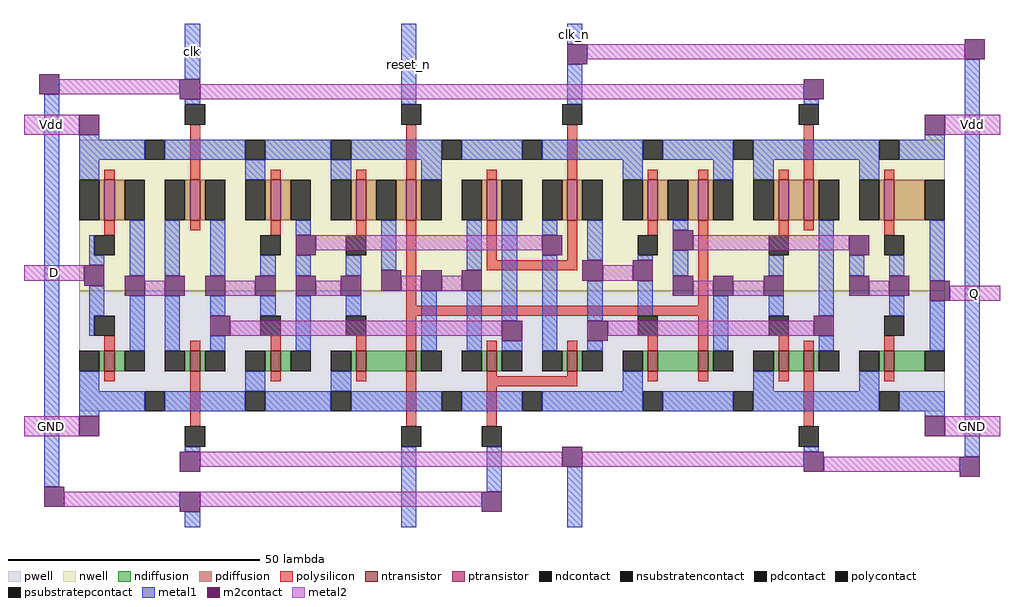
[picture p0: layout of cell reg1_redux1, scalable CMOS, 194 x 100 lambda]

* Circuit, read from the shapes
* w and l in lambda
.subckt reg1_redux1 D GND Q Vdd clk clk_n reset_n
M1 n1 D GND GND nfet w=4 l=2
M2 n2 clk_n n1 GND nfet w=4 l=2
M3 n3 n2 GND GND nfet w=4 l=2
M4 n4 n3 GND GND nfet w=4 l=2
M5 n5 reset_n n4 GND nfet w=4 l=2
M6 n2 clk n5 GND nfet w=4 l=2
M7 reset_n clk n3 GND nfet w=4 l=2
M8 n6 reset_n GND GND nfet w=4 l=2
M9 n7 reset_n n6 GND nfet w=4 l=2
M10 n8 n7 GND GND nfet w=4 l=2
M11 reset_n clk_n n8 GND nfet w=4 l=2
M12 Q n7 GND GND nfet w=4 l=2
M13 n1 D Vdd Vdd pfet w=8 l=2
M14 n2 clk n1 Vdd pfet w=8 l=2
M15 n3 n2 Vdd Vdd pfet w=8 l=2
M16 n5 n3 Vdd Vdd pfet w=8 l=2
M17 Vdd reset_n n5 Vdd pfet w=8 l=2
M18 n2 clk_n n5 Vdd pfet w=8 l=2
M19 reset_n clk_n n3 Vdd pfet w=8 l=2
M20 n7 reset_n Vdd Vdd pfet w=8 l=2 m=2
M21 n9 n7 Vdd Vdd pfet w=8 l=2
M22 reset_n clk n9 Vdd pfet w=8 l=2
M23 Q n7 Vdd Vdd pfet w=8 l=2
.ends

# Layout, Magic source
magic
tech scmos
<< pwell >>
rect -12 -69 160 -45
<< nwell >>
rect -12 -45 160 -15
<< polysilicon >>
rect -7 -23 -5 -21
rect 10 -23 12 -12
rect 26 -23 28 -21
rect 43 -23 45 -21
rect 53 -23 55 -12
rect 69 -23 71 -21
rect 85 -23 87 -12
rect 101 -23 103 -21
rect 111 -23 113 -21
rect 127 -23 129 -21
rect 132 -23 134 -12
rect 148 -23 150 -21
rect -7 -34 -5 -31
rect 10 -33 12 -31
rect 26 -34 28 -31
rect 43 -34 45 -31
rect 53 -48 55 -31
rect 69 -39 71 -31
rect 85 -39 87 -31
rect 101 -34 103 -31
rect 69 -41 87 -39
rect 111 -48 113 -31
rect 127 -34 129 -31
rect 132 -33 134 -31
rect 148 -34 150 -31
rect 53 -50 113 -48
rect -7 -57 -5 -54
rect 10 -57 12 -55
rect 26 -57 28 -54
rect 43 -57 45 -54
rect 53 -57 55 -50
rect 69 -57 71 -55
rect 85 -57 87 -55
rect 101 -57 103 -54
rect 111 -57 113 -50
rect 127 -57 129 -54
rect 132 -57 134 -55
rect 148 -57 150 -54
rect -7 -63 -5 -61
rect 10 -72 12 -61
rect 26 -63 28 -61
rect 43 -63 45 -61
rect 53 -72 55 -61
rect 69 -62 71 -61
rect 85 -62 87 -61
rect 69 -64 87 -62
rect 101 -63 103 -61
rect 111 -63 113 -61
rect 127 -63 129 -61
rect 69 -72 71 -64
rect 132 -72 134 -61
rect 148 -63 150 -61
<< ndiffusion >>
rect -8 -61 -7 -57
rect -5 -61 -3 -57
rect 9 -61 10 -57
rect 12 -61 13 -57
rect 25 -61 26 -57
rect 28 -61 30 -57
rect 42 -61 43 -57
rect 45 -61 53 -57
rect 55 -61 56 -57
rect 68 -61 69 -57
rect 71 -61 72 -57
rect 84 -61 85 -57
rect 87 -61 88 -57
rect 100 -61 101 -57
rect 103 -61 111 -57
rect 113 -61 114 -57
rect 126 -61 127 -57
rect 129 -61 132 -57
rect 134 -61 135 -57
rect 147 -61 148 -57
rect 150 -61 156 -57
<< pdiffusion >>
rect -8 -31 -7 -23
rect -5 -31 -3 -23
rect 9 -31 10 -23
rect 12 -31 13 -23
rect 25 -31 26 -23
rect 28 -31 30 -23
rect 42 -31 43 -23
rect 45 -31 47 -23
rect 51 -31 53 -23
rect 55 -31 56 -23
rect 68 -31 69 -23
rect 71 -31 72 -23
rect 84 -31 85 -23
rect 87 -31 88 -23
rect 100 -31 101 -23
rect 103 -31 105 -23
rect 109 -31 111 -23
rect 113 -31 114 -23
rect 126 -31 127 -23
rect 129 -31 132 -23
rect 134 -31 135 -23
rect 147 -31 148 -23
rect 150 -31 156 -23
<< metal1 >>
rect 9 -3 12 8
rect -19 -84 -16 -6
rect 9 -8 12 -7
rect 52 -8 55 8
rect 85 4 88 8
rect 85 -8 88 0
rect 132 -8 135 -7
rect -12 -15 -8 -14
rect 156 -15 160 -14
rect -12 -19 1 -15
rect 5 -19 21 -15
rect 25 -19 38 -15
rect 42 -19 60 -15
rect 64 -19 76 -15
rect 80 -19 100 -15
rect 104 -19 118 -15
rect 122 -19 147 -15
rect 151 -19 160 -15
rect -12 -23 -8 -19
rect 21 -23 25 -19
rect 38 -23 42 -19
rect 56 -23 60 -19
rect 96 -23 100 -19
rect 114 -23 118 -19
rect -10 -38 -9 -34
rect -10 -40 -7 -38
rect -2 -42 1 -31
rect -10 -50 -7 -44
rect -10 -54 -9 -50
rect -2 -57 1 -46
rect 5 -42 8 -31
rect 14 -42 17 -31
rect 31 -34 34 -31
rect 24 -42 27 -38
rect 5 -57 8 -46
rect 14 -50 17 -46
rect 24 -50 27 -46
rect 31 -42 34 -38
rect 41 -42 44 -38
rect 48 -41 51 -31
rect 65 -41 68 -31
rect 14 -57 17 -54
rect 31 -57 34 -46
rect 41 -50 44 -46
rect 56 -57 59 -45
rect 65 -57 68 -45
rect 122 -23 126 -19
rect 143 -23 147 -19
rect 72 -51 75 -31
rect 80 -34 83 -31
rect 72 -57 76 -55
rect 80 -57 83 -38
rect 89 -39 92 -31
rect 106 -33 109 -31
rect 99 -39 102 -38
rect 89 -51 92 -43
rect 99 -50 102 -43
rect 106 -42 109 -37
rect 125 -42 128 -38
rect 89 -57 92 -55
rect 114 -57 117 -46
rect 125 -50 128 -46
rect 135 -50 138 -31
rect 141 -42 144 -38
rect 149 -42 152 -38
rect 157 -43 160 -31
rect 149 -50 152 -46
rect 135 -57 138 -54
rect 157 -57 160 -47
rect -12 -65 -8 -61
rect 21 -65 25 -61
rect 38 -65 42 -61
rect 96 -65 100 -61
rect 122 -65 126 -61
rect 143 -65 147 -61
rect -12 -69 1 -65
rect 5 -69 21 -65
rect 25 -69 38 -65
rect 42 -69 60 -65
rect 64 -69 76 -65
rect 80 -69 100 -65
rect 104 -69 118 -65
rect 122 -69 147 -65
rect 151 -69 160 -65
rect -12 -70 -8 -69
rect 156 -70 160 -69
rect 9 -77 12 -76
rect 9 -92 12 -89
rect 52 -92 55 -76
rect 69 -85 72 -76
rect 85 -92 88 -80
rect 132 -77 135 -76
rect 164 -78 167 1
<< metal2 >>
rect 89 1 164 4
rect -16 -6 8 -3
rect 12 -7 132 -4
rect -23 -14 -12 -10
rect 160 -14 171 -10
rect 35 -37 80 -34
rect 110 -37 141 -34
rect -23 -43 -11 -40
rect 1 -46 5 -43
rect 17 -46 23 -43
rect 35 -46 40 -43
rect 52 -45 56 -42
rect 60 -45 64 -42
rect 92 -43 98 -40
rect 110 -46 114 -43
rect 118 -46 124 -43
rect 145 -46 149 -43
rect 161 -47 171 -44
rect 18 -54 72 -51
rect 93 -54 134 -51
rect -23 -74 -12 -70
rect 160 -74 171 -70
rect 12 -80 84 -77
rect 88 -80 132 -77
rect 136 -81 163 -78
rect -15 -88 8 -85
rect 12 -88 68 -85
<< ntransistor >>
rect -7 -61 -5 -57
rect 10 -61 12 -57
rect 26 -61 28 -57
rect 43 -61 45 -57
rect 53 -61 55 -57
rect 69 -61 71 -57
rect 85 -61 87 -57
rect 101 -61 103 -57
rect 111 -61 113 -57
rect 127 -61 129 -57
rect 132 -61 134 -57
rect 148 -61 150 -57
<< ptransistor >>
rect -7 -31 -5 -23
rect 10 -31 12 -23
rect 26 -31 28 -23
rect 43 -31 45 -23
rect 53 -31 55 -23
rect 69 -31 71 -23
rect 85 -31 87 -23
rect 101 -31 103 -23
rect 111 -31 113 -23
rect 127 -31 129 -23
rect 132 -31 134 -23
rect 148 -31 150 -23
<< polycontact >>
rect 9 -12 13 -8
rect 52 -12 56 -8
rect 84 -12 88 -8
rect 131 -12 135 -8
rect -9 -38 -5 -34
rect 24 -38 28 -34
rect 41 -38 45 -34
rect 99 -38 103 -34
rect 125 -38 129 -34
rect 148 -38 152 -34
rect -9 -54 -5 -50
rect 24 -54 28 -50
rect 41 -54 45 -50
rect 99 -54 103 -50
rect 125 -54 129 -50
rect 148 -54 152 -50
rect 9 -76 13 -72
rect 52 -76 56 -72
rect 68 -76 72 -72
rect 131 -76 135 -72
<< ndcontact >>
rect -12 -61 -8 -57
rect -3 -61 1 -57
rect 5 -61 9 -57
rect 13 -61 17 -57
rect 21 -61 25 -57
rect 30 -61 34 -57
rect 38 -61 42 -57
rect 56 -61 60 -57
rect 64 -61 68 -57
rect 72 -61 76 -57
rect 80 -61 84 -57
rect 88 -61 92 -57
rect 96 -61 100 -57
rect 114 -61 118 -57
rect 122 -61 126 -57
rect 135 -61 139 -57
rect 143 -61 147 -57
rect 156 -61 160 -57
<< pdcontact >>
rect -12 -31 -8 -23
rect -3 -31 1 -23
rect 5 -31 9 -23
rect 13 -31 17 -23
rect 21 -31 25 -23
rect 30 -31 34 -23
rect 38 -31 42 -23
rect 47 -31 51 -23
rect 56 -31 60 -23
rect 64 -31 68 -23
rect 72 -31 76 -23
rect 80 -31 84 -23
rect 88 -31 92 -23
rect 96 -31 100 -23
rect 105 -31 109 -23
rect 114 -31 118 -23
rect 122 -31 126 -23
rect 135 -31 139 -23
rect 143 -31 147 -23
rect 156 -31 160 -23
<< m2contact >>
rect -20 -6 -16 -2
rect 8 -7 12 -3
rect 85 0 89 4
rect 164 1 168 5
rect 132 -7 136 -3
rect -12 -14 -8 -10
rect 156 -14 160 -10
rect -11 -44 -7 -40
rect -3 -46 1 -42
rect 31 -38 35 -34
rect 5 -46 9 -42
rect 13 -46 17 -42
rect 23 -46 27 -42
rect 31 -46 35 -42
rect 40 -46 44 -42
rect 48 -45 52 -41
rect 56 -45 60 -41
rect 64 -45 68 -41
rect 14 -54 18 -50
rect 80 -38 84 -34
rect 72 -55 76 -51
rect 106 -37 110 -33
rect 88 -43 92 -39
rect 98 -43 102 -39
rect 106 -46 110 -42
rect 114 -46 118 -42
rect 124 -46 128 -42
rect 89 -55 93 -51
rect 141 -38 145 -34
rect 141 -46 145 -42
rect 149 -46 153 -42
rect 134 -54 138 -50
rect 157 -47 161 -43
rect -12 -74 -8 -70
rect 156 -74 160 -70
rect 8 -81 12 -77
rect -19 -88 -15 -84
rect 8 -89 12 -85
rect 84 -80 88 -76
rect 68 -89 72 -85
rect 132 -81 136 -77
rect 163 -82 167 -78
<< psubstratepcontact >>
rect 1 -69 5 -65
rect 21 -69 25 -65
rect 38 -69 42 -65
rect 60 -69 64 -65
rect 76 -69 80 -65
rect 100 -69 104 -65
rect 118 -69 122 -65
rect 147 -69 151 -65
<< nsubstratencontact >>
rect 1 -19 5 -15
rect 21 -19 25 -15
rect 38 -19 42 -15
rect 60 -19 64 -15
rect 76 -19 80 -15
rect 100 -19 104 -15
rect 118 -19 122 -15
rect 147 -19 151 -15
<< labels >>
rlabel metal2 -23 -14 -12 -10 7 Vdd
rlabel metal2 160 -14 171 -10 3 Vdd
rlabel metal2 161 -47 171 -44 3 Q
rlabel metal2 160 -74 171 -70 3 GND
rlabel metal2 -23 -74 -12 -70 7 GND
rlabel metal2 -23 -43 -11 -40 7 D
rlabel metal1 9 -3 12 8 1 clk
rlabel metal1 52 -8 55 8 1 reset_n
rlabel metal1 85 4 88 8 1 clk_n
<< end >>
